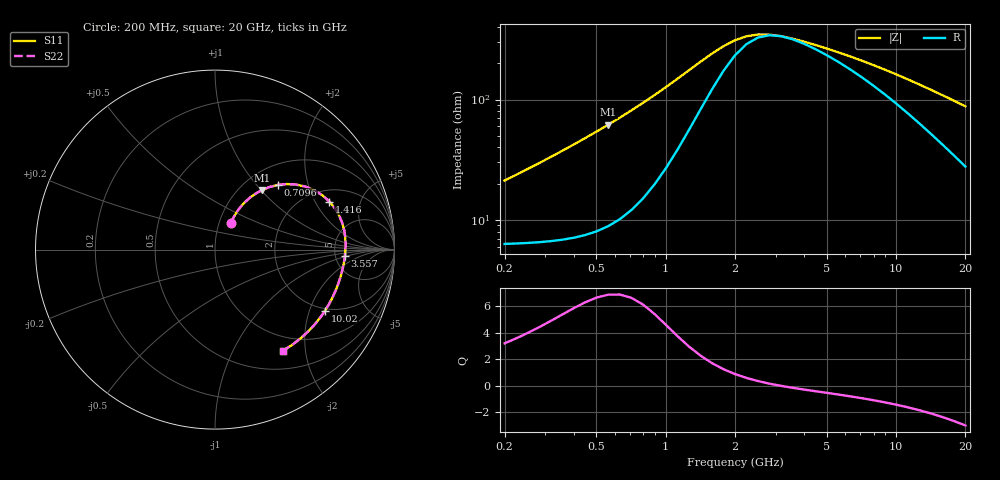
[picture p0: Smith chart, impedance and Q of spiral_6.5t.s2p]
# GHz S RI R 50
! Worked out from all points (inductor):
!   41 points, 200 MHz to 20 GHz, reference 50 ohm
!   read as 1/Y11, port 2 shorted: L = 16.1 nH near 200 MHz
!   highest Q = 6.9 at 563.7 MHz (marker M1), where L = 17.3 nH
!   self-resonance near 3.151 GHz
!   S11 on the Smith chart (normalised r, x): 200 MHz: 1.14, +0.35; 709.6 MHz: 1.35, +1.30; 1.416 GHz: 2.57, +2.64; 3.557 GHz: 6.12, -0.92; 10.02 GHz: 1.91, -2.56; 20 GHz: 0.76, -1.60
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0.2  0.088 0.1477  0.9049 -0.1976  0.9049 -0.1976  0.088 0.1477
0.3556559  0.1484 0.2446  0.8301 -0.3295  0.8301 -0.3295  0.1484 0.2446
0.5636766  0.2615 0.3316  0.6895 -0.4543  0.6895 -0.4543  0.2615 0.3316
0.7096268  0.3483 0.36  0.5805 -0.5026  0.5805 -0.5026  0.3483 0.36
1.002374  0.5028 0.3512  0.3813 -0.5184  0.3813 -0.5184  0.5028 0.3512
1.415892  0.6377 0.2678  0.1931 -0.4466  0.1931 -0.4466  0.6377 0.2678
1.782502  0.693 0.1878  0.103 -0.3657  0.103 -0.3657  0.693 0.1878
2.244037  0.7201 0.1064  0.0454 -0.2786  0.0454 -0.2786  0.7201 0.1064
3.556559  0.7236 -0.0359  -0.00148 -0.1223  -0.00148 -0.1223  0.7236 -0.0359
3.990525  0.7189 -0.068  -0.00415 -0.0883  -0.00415 -0.0883  0.7189 -0.068
4.477442  0.7126 -0.0997  -0.00428 -0.0559  -0.00428 -0.0559  0.7126 -0.0997
5.023773  0.7049 -0.1315  -0.00207 -0.0249  -0.00207 -0.0249  0.7049 -0.1315
5.636766  0.6955 -0.1637  0.00241 0.00508  0.00241 0.00508  0.6955 -0.1637
6.324555  0.6843 -0.1968  0.00923 0.0342  0.00923 0.0342  0.6843 -0.1968
7.096268  0.6709 -0.231  0.0185 0.0625  0.0185 0.0625  0.6709 -0.231
7.962143  0.6548 -0.2665  0.0306 0.0901  0.0306 0.0901  0.6548 -0.2665
8.933672  0.6356 -0.3032  0.0457 0.1168  0.0457 0.1168  0.6356 -0.3032
10.02374  0.6128 -0.3411  0.0642 0.1425  0.0642 0.1425  0.6128 -0.3411
11.24683  0.5857 -0.3798  0.0863 0.1665  0.0863 0.1665  0.5857 -0.3798
14.15892  0.5175 -0.4578  0.1422 0.2074  0.1422 0.2074  0.5175 -0.4578
17.82502  0.4287 -0.5317  0.2131 0.2325  0.2131 0.2325  0.4287 -0.5317
20  0.3769 -0.5649  0.2529 0.2367  0.2529 0.2367  0.3769 -0.5649
